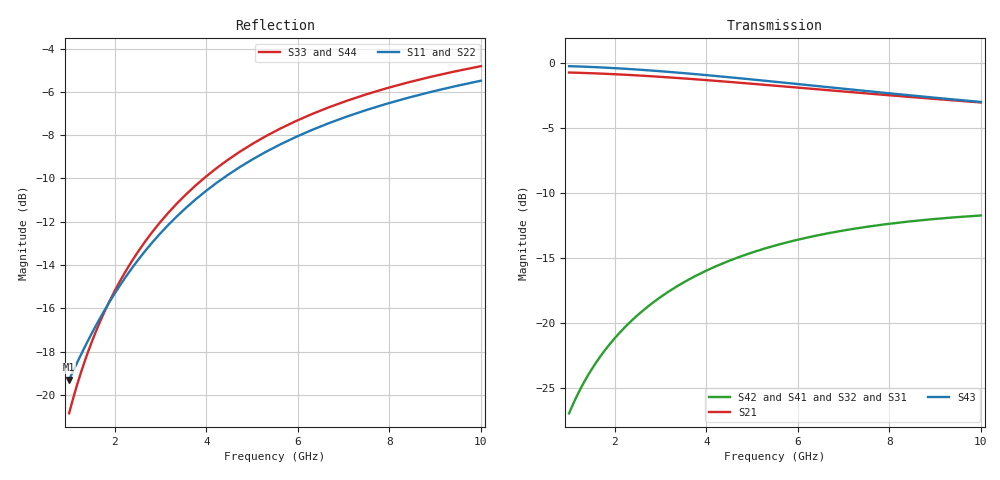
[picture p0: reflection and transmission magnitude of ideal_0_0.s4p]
! Synthetic ideal circuit; generated by generate_synthetic.py
# Hz S RI R 50
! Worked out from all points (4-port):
!   41 points, 1 GHz to 10 GHz, reference 50 ohm
!   strongest paths, dB at 1 GHz, 1.778 GHz, 3.162 GHz, 5.623 GHz, 10 GHz:
!     S43: -0.2, -0.3, -0.7, -1.5, -3.0
!     S21: -0.7, -0.8, -1.1, -1.8, -3.0
!     S42: -26.9, -22.1, -17.6, -13.9, -11.7
!     S41: -26.9, -22.1, -17.6, -13.9, -11.7
!     S32: -26.9, -22.1, -17.6, -13.9, -11.7
!     S31: -26.9, -22.1, -17.6, -13.9, -11.7
!   lowest |S11| = -19.3 dB at 1 GHz (marker M1), VSWR 1.24, Z = 58.3 + j8.34 ohm
!   |S11| at or under -10 dB: start of sweep to 4.359 GHz
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1e9  0.0822 0.0706  0.9177 -0.0782  0.00777 0.0444  -0.00777 -0.0444
     0.9177 -0.0782  0.0822 0.0706  -0.00777 -0.0444  0.00777 0.0444
     0.00777 0.0444  -0.00777 -0.0444  0.03 0.0855  0.9699 -0.093
     -0.00777 -0.0444  0.00777 0.0444  0.9699 -0.093  0.03 0.0855
1.496236e9  0.092 0.1039  0.908 -0.1152  0.017 0.0644  -0.017 -0.0644
            0.908 -0.1152  0.092 0.1039  -0.017 -0.0644  0.017 0.0644
            0.017 0.0644  -0.017 -0.0644  0.0425 0.1256  0.9574 -0.1369
            -0.017 -0.0644  0.017 0.0644  0.9574 -0.1369  0.0425 0.1256
2.113489e9  0.1086 0.1425  0.8912 -0.1584  0.0326 0.0864  -0.0326 -0.0864
            0.8912 -0.1584  0.1086 0.1425  -0.0326 -0.0864  0.0326 0.0864
            0.0326 0.0864  -0.0326 -0.0864  0.0638 0.1718  0.9361 -0.1877
            -0.0326 -0.0864  0.0326 0.0864  0.9361 -0.1877  0.0638 0.1718
2.985383e9  0.1389 0.1904  0.8609 -0.2129  0.0604 0.1102  -0.0604 -0.1102
            0.8609 -0.2129  0.1389 0.1904  -0.0604 -0.1102  0.0604 0.1102
            0.0604 0.1102  -0.0604 -0.1102  0.1022 0.2284  0.8975 -0.2509
            -0.0604 -0.1102  0.0604 0.1102  0.8975 -0.2509  0.1022 0.2284
3.981072e9  0.1795 0.2346  0.82 -0.2646  0.0963 0.1263  -0.0963 -0.1263
            0.82 -0.2646  0.1795 0.2346  -0.0963 -0.1263  0.0963 0.1263
            0.0963 0.1263  -0.0963 -0.1263  0.1536 0.2794  0.846 -0.3094
            -0.0963 -0.1263  0.0963 0.1263  0.846 -0.3094  0.1536 0.2794
6.309573e9  0.2805 0.2983  0.7184 -0.3459  0.1765 0.1238  -0.1765 -0.1238
            0.7184 -0.3459  0.2805 0.2983  -0.1765 -0.1238  0.1765 0.1238
            0.1765 0.1238  -0.1765 -0.1238  0.2791 0.3474  0.7197 -0.3949
            -0.1765 -0.1238  0.1765 0.1238  0.7197 -0.3949  0.2791 0.3474
1e10  0.4179 0.3293  0.5793 -0.4046  0.2526 0.0604  -0.2526 -0.0604
      0.5793 -0.4046  0.4179 0.3293  -0.2526 -0.0604  0.2526 0.0604
      0.2526 0.0604  -0.2526 -0.0604  0.4423 0.3672  0.5548 -0.4425
      -0.2526 -0.0604  0.2526 0.0604  0.5548 -0.4425  0.4423 0.3672
